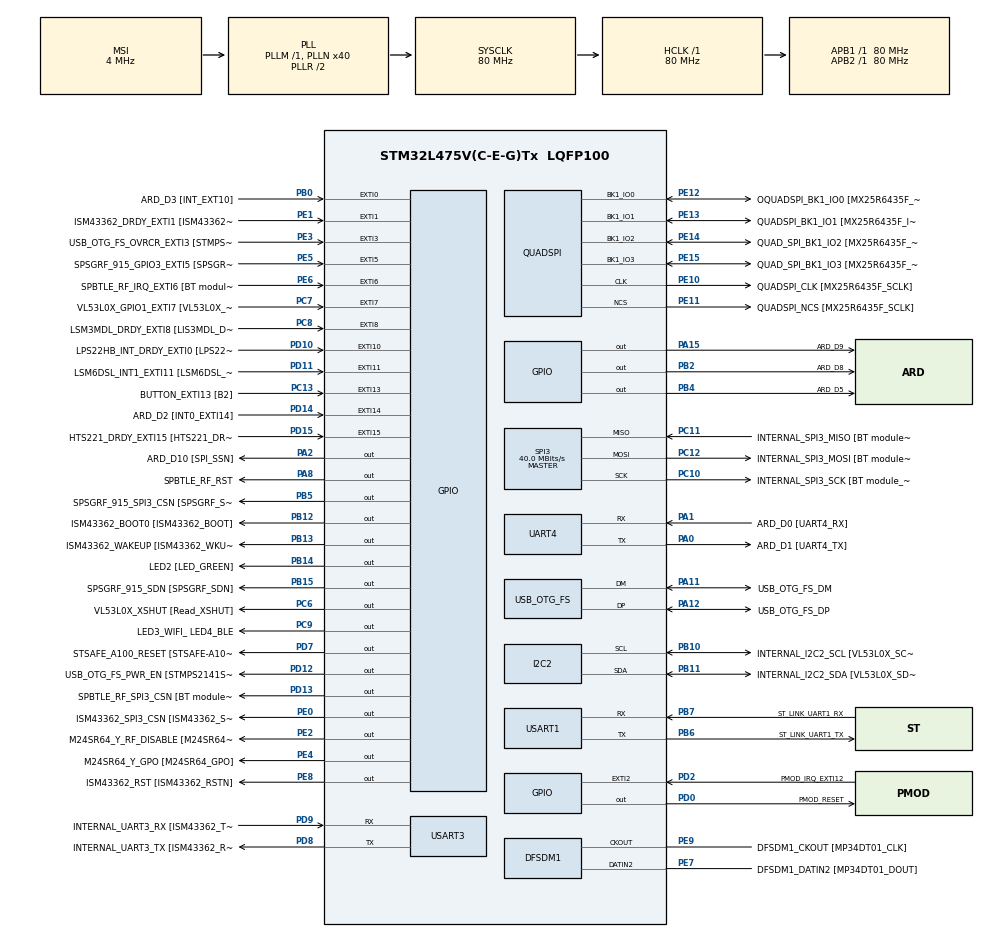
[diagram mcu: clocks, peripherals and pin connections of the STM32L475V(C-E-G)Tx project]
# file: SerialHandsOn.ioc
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Dma.Request0=UART4_RX
Dma.Request1=UART4_TX
Dma.UART4_RX.0.Direction=DMA_PERIPH_TO_MEMORY
Dma.UART4_RX.0.Instance=DMA2_Channel5
Dma.UART4_RX.0.MemDataAlignment=DMA_MDATAALIGN_BYTE
Dma.UART4_RX.0.MemInc=DMA_MINC_ENABLE
Dma.UART4_RX.0.Mode=DMA_NORMAL
Dma.UART4_RX.0.PeriphDataAlignment=DMA_PDATAALIGN_BYTE
Dma.UART4_RX.0.PeriphInc=DMA_PINC_DISABLE
Dma.UART4_RX.0.Priority=DMA_PRIORITY_LOW
Dma.UART4_TX.1.Direction=DMA_MEMORY_TO_PERIPH
Dma.UART4_TX.1.Instance=DMA2_Channel3
Dma.UART4_TX.1.MemDataAlignment=DMA_MDATAALIGN_BYTE
Dma.UART4_TX.1.MemInc=DMA_MINC_ENABLE
Dma.UART4_TX.1.Mode=DMA_NORMAL
Dma.UART4_TX.1.PeriphDataAlignment=DMA_PDATAALIGN_BYTE
Dma.UART4_TX.1.PeriphInc=DMA_PINC_DISABLE
Dma.UART4_TX.1.Priority=DMA_PRIORITY_LOW
Mcu.Family=STM32L4
Mcu.Name=STM32L475V(C-E-G)Tx
Mcu.Package=LQFP100
NVIC.DMA2_Channel3_IRQn=true\:0\:0\:false\:false\:true\:false\:true
NVIC.DMA2_Channel5_IRQn=true\:0\:0\:false\:false\:true\:false\:true
NVIC.EXTI15_10_IRQn=true\:0\:0\:false\:false\:true\:true\:true
NVIC.EXTI9_5_IRQn=true\:0\:0\:false\:false\:true\:true\:true
NVIC.PriorityGroup=NVIC_PRIORITYGROUP_4
NVIC.UART4_IRQn=true\:0\:0\:false\:false\:true\:true\:true
PA0.GPIO_Label=ARD_D1 [UART4_TX]
PA0.Mode=Asynchronous
PA0.Signal=UART4_TX
PA1.GPIO_Label=ARD_D0 [UART4_RX]
PA1.Mode=Asynchronous
PA1.Signal=UART4_RX
PA10.GPIO_Label=USB_OTG_FS_ID
PA10.Signal=USB_OTG_FS_ID
PA11.GPIO_Label=USB_OTG_FS_DM
PA11.Mode=Device_Only
PA11.Signal=USB_OTG_FS_DM
PA12.GPIO_Label=USB_OTG_FS_DP
PA12.Mode=Device_Only
PA12.Signal=USB_OTG_FS_DP
PA13\ (JTMS-SWDIO).GPIO_Label=SYS_JTMS_SWDIO
PA13\ (JTMS-SWDIO).Mode=Serial_Wire
PA13\ (JTMS-SWDIO).Signal=SYS_JTMS-SWDIO
PA14\ (JTCK-SWCLK).GPIO_Label=SYS_JTCK_SWCLK
PA14\ (JTCK-SWCLK).Mode=Serial_Wire
PA14\ (JTCK-SWCLK).Signal=SYS_JTCK-SWCLK
PA15\ (JTDI).GPIO_Label=ARD_D9
PA15\ (JTDI).Signal=GPIO_Output
PA2.GPIO_Label=ARD_D10 [SPI_SSN]
PA2.Signal=GPIO_Output
PA3.GPIO_Label=ARD_D4
PA3.Signal=S_TIM2_CH4
PA4.GPIO_Label=ARD_D7
PA4.Signal=ADCx_IN9
PA5.GPIO_Label=ARD_D13 [SPI1_SCK]
PA5.Signal=SPI1_SCK
PA6.GPIO_Label=ARD_D12 [SPI1_MISO]
PA6.Signal=SPI1_MISO
PA7.GPIO_Label=ARD_D11 [SPI1_MOSI]
PA7.Signal=SPI1_MOSI
PA8.GPIO_Label=SPBTLE_RF_RST
PA8.Signal=GPIO_Output
PA9.GPIO_Label=USB_OTG_FS_VBUS [STMPS2141STR_OUT]
PA9.Signal=USB_OTG_FS_VBUS
PB0.GPIO_Label=ARD_D3 [INT_EXT10]
PB0.Signal=GPXTI0
PB1.GPIO_Label=ARD_D6 [ADC1_IN6]
PB1.Signal=ADCx_IN16
PB10.GPIO_Label=INTERNAL_I2C2_SCL [VL53L0X_SCL]
PB10.Mode=I2C
PB10.Signal=I2C2_SCL
PB11.GPIO_Label=INTERNAL_I2C2_SDA [VL53L0X_SDA]
PB11.Mode=I2C
PB11.Signal=I2C2_SDA
PB12.GPIO_Label=ISM43362_BOOT0 [ISM43362_BOOT]
PB12.Signal=GPIO_Output
PB13.GPIO_Label=ISM43362_WAKEUP [ISM43362_WKUP]
PB13.Signal=GPIO_Output
PB14.GPIO_Label=LED2 [LED_GREEN]
PB14.Signal=GPIO_Output
PB15.GPIO_Label=SPSGRF_915_SDN [SPSGRF_SDN]
PB15.Signal=GPIO_Output
PB2.GPIO_Label=ARD_D8
PB2.Signal=GPIO_Output
PB3\ (JTDO-TRACESWO).GPIO_Label=SYS_JTD0_SWO
PB3\ (JTDO-TRACESWO).Signal=SYS_JTDO-SWO
PB4\ (NJTRST).GPIO_Label=ARD_D5
PB4\ (NJTRST).Signal=GPIO_Output
PB5.GPIO_Label=SPSGRF_915_SPI3_CSN [SPSGRF_SPI_CS]
PB5.PinState=GPIO_PIN_SET
PB5.Signal=GPIO_Output
PB6.GPIO_Label=ST_LINK_UART1_TX
PB6.Mode=Asynchronous
PB6.Signal=USART1_TX
PB7.GPIO_Label=ST_LINK_UART1_RX
PB7.Mode=Asynchronous
PB7.Signal=USART1_RX
PB8.GPIO_Label=ARD_D15 [I2C1_SCL]
PB8.Signal=I2C1_SCL
PB9.GPIO_Label=ARD_D14 [I2C1_SDA]
PB9.Signal=I2C1_SDA
PC0.GPIO_Label=ARD_A5 [ADC]
PC0.Signal=ADCx_IN1
PC1.GPIO_Label=ARD_A4 [ADC]
PC1.Signal=ADCx_IN2
PC10.GPIO_Label=INTERNAL_SPI3_SCK [BT module_SPI_SCLK] [ISM43362_SCK]
PC10.Mode=Full_Duplex_Master
PC10.Signal=SPI3_SCK
PC11.GPIO_Label=INTERNAL_SPI3_MISO [BT module_SPI_MISO] [ISM43362_MISO]
PC11.Mode=Full_Duplex_Master
PC11.Signal=SPI3_MISO
PC12.GPIO_Label=INTERNAL_SPI3_MOSI [BT module_SPI_MOSI] [ISM43362_MOSI]
PC12.Mode=Full_Duplex_Master
PC12.Signal=SPI3_MOSI
PC13.GPIO_Label=BUTTON_EXTI13 [B2]
PC13.GPIO_ModeDefaultEXTI=GPIO_MODE_IT_FALLING
PC13.Signal=GPXTI13
PC14-OSC32_IN\ (PC14).Mode=LSE-External-Oscillator
PC14-OSC32_IN\ (PC14).Signal=RCC_OSC32_IN
PC15-OSC32_OUT\ (PC15).Mode=LSE-External-Oscillator
PC15-OSC32_OUT\ (PC15).Signal=RCC_OSC32_OUT
PC2.GPIO_Label=ARD_A3 [ADC]
PC2.Signal=ADCx_IN3
PC3.GPIO_Label=ARD_A2 [ADC]
PC3.Signal=ADCx_IN4
PC4.GPIO_Label=ARD_A1 [ADC]
PC4.Signal=ADCx_IN13
PC5.GPIO_Label=ARD_A0 [ADC]
PC5.Signal=ADCx_IN14
PC6.GPIO_Label=VL53L0X_XSHUT [Read_XSHUT]
PC6.Signal=GPIO_Output
PC7.GPIO_Label=VL53L0X_GPIO1_EXTI7 [VL53L0X_GPIO1]
PC7.Signal=GPXTI7
PC8.GPIO_Label=LSM3MDL_DRDY_EXTI8 [LIS3MDL_DRDY]
PC8.Signal=GPXTI8
PC9.GPIO_Label=LED3_WIFI_ LED4_BLE
PC9.Signal=GPIO_Output
PD0.GPIO_Label=PMOD_RESET
PD0.Signal=GPIO_Output
PD1.GPIO_Label=PMOD_SPI2_SCK
PD1.Signal=SPI2_SCK
PD10.GPIO_Label=LPS22HB_INT_DRDY_EXTI0 [LPS22HB_INT_DRDY] 
PD10.Signal=GPXTI10
PD11.GPIO_Label=LSM6DSL_INT1_EXTI11 [LSM6DSL_INT1]
PD11.Signal=GPXTI11
PD12.GPIO_Label=USB_OTG_FS_PWR_EN [STMPS2141STR_EN]
PD12.Signal=GPIO_Output
PD13.GPIO_Label=SPBTLE_RF_SPI3_CSN [BT module_SPI_CS]
PD13.PinState=GPIO_PIN_SET
PD13.Signal=GPIO_Output
PD14.GPIO_Label=ARD_D2 [INT0_EXTI14]
PD14.Signal=GPXTI14
PD15.GPIO_Label=HTS221_DRDY_EXTI15 [HTS221_DRDY]
PD15.Signal=GPXTI15
PD2.GPIO_Label=PMOD_IRQ_EXTI12
PD2.Signal=GPXTI2
PD3.GPIO_Label=PMOD_UART2_CTS
PD3.Signal=USART2_CTS
PD4.GPIO_Label=PMOD_UART2_RTS
PD4.Signal=USART2_RTS
PD5.GPIO_Label=PMOD_UART2_TX
PD5.Signal=USART2_TX
PD6.GPIO_Label=PMOD_UART2_RX
PD6.Signal=USART2_RX
PD7.GPIO_Label=STSAFE_A100_RESET [STSAFE-A100_RESET]
PD7.Signal=GPIO_Output
PD8.GPIO_Label=INTERNAL_UART3_TX [ISM43362_RX]
PD8.Mode=Asynchronous
PD8.Signal=USART3_TX
PD9.GPIO_Label=INTERNAL_UART3_RX [ISM43362_TX]
PD9.Mode=Asynchronous
PD9.Signal=USART3_RX
PE0.GPIO_Label=ISM43362_SPI3_CSN [ISM43362_SSN]
PE0.PinState=GPIO_PIN_SET
PE0.Signal=GPIO_Output
PE1.GPIO_Label=ISM43362_DRDY_EXTI1 [ISM43362_DATARDY]
PE1.Signal=GPXTI1
PE10.GPIO_Label=QUADSPI_CLK [MX25R6435F_SCLK]
PE10.Mode=Single Bank
PE10.Signal=QUADSPI_CLK
PE11.GPIO_Label=QUADSPI_NCS [MX25R6435F_SCLK]
PE11.Mode=Single Bank
PE11.Signal=QUADSPI_NCS
PE12.GPIO_Label=OQUADSPI_BK1_IO0 [MX25R6435F_IO0]
PE12.Mode=Single Bank
PE12.Signal=QUADSPI_BK1_IO0
PE13.GPIO_Label=QUADSPI_BK1_IO1 [MX25R6435F_IO1]
PE13.Mode=Single Bank
PE13.Signal=QUADSPI_BK1_IO1
PE14.GPIO_Label=QUAD_SPI_BK1_IO2 [MX25R6435F_IO2]
PE14.Mode=Single Bank
PE14.Signal=QUADSPI_BK1_IO2
PE15.GPIO_Label=QUAD_SPI_BK1_IO3 [MX25R6435F_IO3]
PE15.Mode=Single Bank
PE15.Signal=QUADSPI_BK1_IO3
PE2.GPIO_Label=M24SR64_Y_RF_DISABLE [M24SR64_RFDIS]
PE2.Signal=GPIO_Output
PE3.GPIO_Label=USB_OTG_FS_OVRCR_EXTI3 [STMPS2141STR_FAULT]
PE3.Signal=GPXTI3
PE4.GPIO_Label=M24SR64_Y_GPO [M24SR64_GPO]
PE4.Signal=GPIO_Output
PE5.GPIO_Label=SPSGRF_915_GPIO3_EXTI5 [SPSGRF_GPIO_3]
PE5.Signal=GPXTI5
PE6.GPIO_Label=SPBTLE_RF_IRQ_EXTI6 [BT module_SPI_IRQ]
PE6.Signal=GPXTI6
PE7.GPIO_Label=DFSDM1_DATIN2 [MP34DT01_DOUT]
PE7.Signal=S_DATAIN2DFSDM1
PE8.GPIO_Label=ISM43362_RST [ISM43362_RSTN]
PE8.Signal=GPIO_Output
PE9.GPIO_Label=DFSDM1_CKOUT [MP34DT01_CLK]
PE9.Signal=S_CKOUTDFSDM1
ProjectManager.HeapSize=0x200
ProjectManager.StackSize=0x400
ProjectManager.TargetToolchain=STM32CubeIDE
QUADSPI.ClockPrescaler=2
QUADSPI.FifoThreshold=4
QUADSPI.FlashSize=23
QUADSPI.SampleShifting=QSPI_SAMPLE_SHIFTING_HALFCYCLE
RCC.ADCFreq_Value=48000000
RCC.AHBFreq_Value=80000000
RCC.APB1Freq_Value=80000000
RCC.APB1TimFreq_Value=80000000
RCC.APB2Freq_Value=80000000
RCC.APB2TimFreq_Value=80000000
RCC.CortexFreq_Value=80000000
RCC.HCLKFreq_Value=80000000
RCC.HSE_VALUE=8000000
RCC.HSI_VALUE=16000000
RCC.MSI_VALUE=4000000
RCC.PLLN=40
RCC.PLLSAI1N=24
RCC.SYSCLKFreq_VALUE=80000000
RCC.SYSCLKSource=RCC_SYSCLKSOURCE_PLLCLK
RCC.USBFreq_Value=48000000
RCC.VCOOutputFreq_Value=160000000
SH.ADCx_IN1.0=ADC1_IN1
SH.ADCx_IN13.0=ADC1_IN13
SH.ADCx_IN14.0=ADC1_IN14
SH.ADCx_IN16.0=ADC1_IN16
SH.ADCx_IN2.0=ADC1_IN2
SH.ADCx_IN3.0=ADC1_IN3
SH.ADCx_IN4.0=ADC1_IN4
SH.ADCx_IN9.0=ADC1_IN9
SH.S_CKOUTDFSDM1.0=DFSDM1_CKOUT,CKOUT
SH.S_CKOUTDFSDM1.1=DFSDM1_CKOUT,PDM_SPI_Input_from_ch12_and_Internal_Clock
SH.S_DATAIN2DFSDM1.0=DFSDM1_DATIN2,PDM_SPI_Input_from_ch12_and_Internal_Clock
SH.S_TIM2_CH4.0=TIM2_CH4
SPI3.CalculateBaudRate=40.0 MBits/s
SPI3.Direction=SPI_DIRECTION_2LINES
SPI3.Mode=SPI_MODE_MASTER
SPI3.VirtualType=VM_MASTER
USART1.VirtualMode-Asynchronous=VM_ASYNC
USART3.VirtualMode-Asynchronous=VM_ASYNC
USB_OTG_FS.VirtualMode=Device_Only
board=B-L475E-IOT01A1

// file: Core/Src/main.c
/* USER CODE BEGIN Header */
/**
 ******************************************************************************
 * @file           : main.c
 * @brief          : Main program body
 ******************************************************************************
 * @attention
 *
 * <h2><center>&copy; Copyright (c) 2021 STMicroelectronics.
 * All rights reserved.</center></h2>
 *
 * This software component is licensed by ST under BSD 3-Clause license,
 * the "License"; You may not use this file except in compliance with the
 * License. You may obtain a copy of the License at:
 *                        opensource.org/licenses/BSD-3-Clause
 *
 ******************************************************************************
 */
/* USER CODE END Header */
#include "main.h"

/* USER CODE BEGIN Includes */
#include <stdio.h>
#include <string.h>
/* USER CODE END Includes */

DFSDM_Channel_HandleTypeDef hdfsdm1_channel1;

I2C_HandleTypeDef hi2c2;

QSPI_HandleTypeDef hqspi;

SPI_HandleTypeDef hspi3;

UART_HandleTypeDef huart4;
UART_HandleTypeDef huart1;
UART_HandleTypeDef huart3;
DMA_HandleTypeDef hdma_uart4_rx;
DMA_HandleTypeDef hdma_uart4_tx;

PCD_HandleTypeDef hpcd_USB_OTG_FS;

/* USER CODE BEGIN PV */
static char tx_buff[] = "abcdefghijklmnopqrstuvwxyz";
static char rx_buff[] = "abcdefghijklmnopqrstuvwxyz";
static uint8_t do_interrupt_done = 0; // interrupt flag
/* USER CODE END PV */

void SystemClock_Config(void);
static void MX_GPIO_Init(void);
static void MX_DFSDM1_Init(void);
static void MX_I2C2_Init(void);
static void MX_QUADSPI_Init(void);
static void MX_SPI3_Init(void);
static void MX_USART1_UART_Init(void);
static void MX_USART3_UART_Init(void);
static void MX_USB_OTG_FS_PCD_Init(void);
static void MX_DMA_Init(void);
static void MX_UART4_Init(void);
/* USER CODE BEGIN PFP */
static void do_polling();
static void do_interrupt();
static void do_dma();
/* USER CODE END PFP */

int main(void)
{

  /* MCU Configuration--------------------------------------------------------*/

  /* Reset of all peripherals, Initializes the Flash interface and the Systick. */
  HAL_Init();

  /* Configure the system clock */
  SystemClock_Config();

  /* Initialize all configured peripherals */
  MX_GPIO_Init();
  MX_DFSDM1_Init();
  MX_I2C2_Init();
  MX_QUADSPI_Init();
  MX_SPI3_Init();
  MX_USART1_UART_Init();
  MX_USART3_UART_Init();
  MX_USB_OTG_FS_PCD_Init();
  MX_DMA_Init();
  MX_UART4_Init();

  /* Infinite loop */
  /* USER CODE BEGIN WHILE */
    while (1) {

        // command prompt message
        char *prompt = "Options: 1=polling, 2=interrupt, 3=DMA\n\rcmd> ";
        HAL_UART_Transmit(&huart1, (uint8_t*) prompt, strlen(prompt), 1000);

        // wait for a single number entry
        char ch;
        HAL_UART_Receive(&huart1, (uint8_t*) &ch, 1, HAL_MAX_DELAY);

        char *msg = "What?";

        switch (ch) {
            case '1':
                msg = "\r\nPolling\r\n";
                do_polling();
                break;
            case '2':
                msg = "\r\nInterrupt\r\n";
                do_interrupt();
                break;
            case '3':
                msg = "\r\nDMA\r\n";
                do_dma();
                break;
            default:
                break;
        }

        // print prompt response
        HAL_UART_Transmit(&huart1, (uint8_t*) msg, sizeof(msg), 1000);

    /* USER CODE END WHILE */

    }
}

void SystemClock_Config(void)
{
  RCC_OscInitTypeDef RCC_OscInitStruct = {0};
  RCC_ClkInitTypeDef RCC_ClkInitStruct = {0};
  RCC_PeriphCLKInitTypeDef PeriphClkInit = {0};

  /** Configure LSE Drive Capability
  */
  HAL_PWR_EnableBkUpAccess();
  __HAL_RCC_LSEDRIVE_CONFIG(RCC_LSEDRIVE_LOW);
  /** Initializes the RCC Oscillators according to the specified parameters
  * in the RCC_OscInitTypeDef structure.
  */
  RCC_OscInitStruct.OscillatorType = RCC_OSCILLATORTYPE_LSE|RCC_OSCILLATORTYPE_MSI;
  RCC_OscInitStruct.LSEState = RCC_LSE_ON;
  RCC_OscInitStruct.MSIState = RCC_MSI_ON;
  RCC_OscInitStruct.MSICalibrationValue = 0;
  RCC_OscInitStruct.MSIClockRange = RCC_MSIRANGE_6;
  RCC_OscInitStruct.PLL.PLLState = RCC_PLL_ON;
  RCC_OscInitStruct.PLL.PLLSource = RCC_PLLSOURCE_MSI;
  RCC_OscInitStruct.PLL.PLLM = 1;
  RCC_OscInitStruct.PLL.PLLN = 40;
  RCC_OscInitStruct.PLL.PLLP = RCC_PLLP_DIV7;
  RCC_OscInitStruct.PLL.PLLQ = RCC_PLLQ_DIV2;
  RCC_OscInitStruct.PLL.PLLR = RCC_PLLR_DIV2;
  if (HAL_RCC_OscConfig(&RCC_OscInitStruct) != HAL_OK)
  {
    Error_Handler();
  }
  /** Initializes the CPU, AHB and APB buses clocks
  */
  RCC_ClkInitStruct.ClockType = RCC_CLOCKTYPE_HCLK|RCC_CLOCKTYPE_SYSCLK
                              |RCC_CLOCKTYPE_PCLK1|RCC_CLOCKTYPE_PCLK2;
  RCC_ClkInitStruct.SYSCLKSource = RCC_SYSCLKSOURCE_PLLCLK;
  RCC_ClkInitStruct.AHBCLKDivider = RCC_SYSCLK_DIV1;
  RCC_ClkInitStruct.APB1CLKDivider = RCC_HCLK_DIV1;
  RCC_ClkInitStruct.APB2CLKDivider = RCC_HCLK_DIV1;

  if (HAL_RCC_ClockConfig(&RCC_ClkInitStruct, FLASH_LATENCY_4) != HAL_OK)
  {
    Error_Handler();
  }
  PeriphClkInit.PeriphClockSelection = RCC_PERIPHCLK_USART1|RCC_PERIPHCLK_USART3
                              |RCC_PERIPHCLK_UART4|RCC_PERIPHCLK_I2C2
                              |RCC_PERIPHCLK_DFSDM1|RCC_PERIPHCLK_USB;
  PeriphClkInit.Usart1ClockSelection = RCC_USART1CLKSOURCE_PCLK2;
  PeriphClkInit.Usart3ClockSelection = RCC_USART3CLKSOURCE_PCLK1;
  PeriphClkInit.Uart4ClockSelection = RCC_UART4CLKSOURCE_PCLK1;
  PeriphClkInit.I2c2ClockSelection = RCC_I2C2CLKSOURCE_PCLK1;
  PeriphClkInit.Dfsdm1ClockSelection = RCC_DFSDM1CLKSOURCE_PCLK;
  PeriphClkInit.UsbClockSelection = RCC_USBCLKSOURCE_PLLSAI1;
  PeriphClkInit.PLLSAI1.PLLSAI1Source = RCC_PLLSOURCE_MSI;
  PeriphClkInit.PLLSAI1.PLLSAI1M = 1;
  PeriphClkInit.PLLSAI1.PLLSAI1N = 24;
  PeriphClkInit.PLLSAI1.PLLSAI1P = RCC_PLLP_DIV7;
  PeriphClkInit.PLLSAI1.PLLSAI1Q = RCC_PLLQ_DIV2;
  PeriphClkInit.PLLSAI1.PLLSAI1R = RCC_PLLR_DIV2;
  PeriphClkInit.PLLSAI1.PLLSAI1ClockOut = RCC_PLLSAI1_48M2CLK;
  if (HAL_RCCEx_PeriphCLKConfig(&PeriphClkInit) != HAL_OK)
  {
    Error_Handler();
  }
  /** Configure the main internal regulator output voltage
  */
  if (HAL_PWREx_ControlVoltageScaling(PWR_REGULATOR_VOLTAGE_SCALE1) != HAL_OK)
  {
    Error_Handler();
  }
  /** Enable MSI Auto calibration
  */
  HAL_RCCEx_EnableMSIPLLMode();
}

static void MX_DFSDM1_Init(void)
{

  hdfsdm1_channel1.Instance = DFSDM1_Channel1;
  hdfsdm1_channel1.Init.OutputClock.Activation = ENABLE;
  hdfsdm1_channel1.Init.OutputClock.Selection = DFSDM_CHANNEL_OUTPUT_CLOCK_SYSTEM;
  hdfsdm1_channel1.Init.OutputClock.Divider = 2;
  hdfsdm1_channel1.Init.Input.Multiplexer = DFSDM_CHANNEL_EXTERNAL_INPUTS;
  hdfsdm1_channel1.Init.Input.DataPacking = DFSDM_CHANNEL_STANDARD_MODE;
  hdfsdm1_channel1.Init.Input.Pins = DFSDM_CHANNEL_FOLLOWING_CHANNEL_PINS;
  hdfsdm1_channel1.Init.SerialInterface.Type = DFSDM_CHANNEL_SPI_RISING;
  hdfsdm1_channel1.Init.SerialInterface.SpiClock = DFSDM_CHANNEL_SPI_CLOCK_INTERNAL;
  hdfsdm1_channel1.Init.Awd.FilterOrder = DFSDM_CHANNEL_FASTSINC_ORDER;
  hdfsdm1_channel1.Init.Awd.Oversampling = 1;
  hdfsdm1_channel1.Init.Offset = 0;
  hdfsdm1_channel1.Init.RightBitShift = 0x00;
  if (HAL_DFSDM_ChannelInit(&hdfsdm1_channel1) != HAL_OK)
  {
    Error_Handler();
  }

}

static void MX_I2C2_Init(void)
{

  hi2c2.Instance = I2C2;
  hi2c2.Init.Timing = 0x00000E14;
  hi2c2.Init.OwnAddress1 = 0;
  hi2c2.Init.AddressingMode = I2C_ADDRESSINGMODE_7BIT;
  hi2c2.Init.DualAddressMode = I2C_DUALADDRESS_DISABLE;
  hi2c2.Init.OwnAddress2 = 0;
  hi2c2.Init.OwnAddress2Masks = I2C_OA2_NOMASK;
  hi2c2.Init.GeneralCallMode = I2C_GENERALCALL_DISABLE;
  hi2c2.Init.NoStretchMode = I2C_NOSTRETCH_DISABLE;
  if (HAL_I2C_Init(&hi2c2) != HAL_OK)
  {
    Error_Handler();
  }
  /** Configure Analogue filter
  */
  if (HAL_I2CEx_ConfigAnalogFilter(&hi2c2, I2C_ANALOGFILTER_ENABLE) != HAL_OK)
  {
    Error_Handler();
  }
  /** Configure Digital filter
  */
  if (HAL_I2CEx_ConfigDigitalFilter(&hi2c2, 0) != HAL_OK)
  {
    Error_Handler();
  }

}

static void MX_QUADSPI_Init(void)
{

  /* QUADSPI parameter configuration*/
  hqspi.Instance = QUADSPI;
  hqspi.Init.ClockPrescaler = 2;
  hqspi.Init.FifoThreshold = 4;
  hqspi.Init.SampleShifting = QSPI_SAMPLE_SHIFTING_HALFCYCLE;
  hqspi.Init.FlashSize = 23;
  hqspi.Init.ChipSelectHighTime = QSPI_CS_HIGH_TIME_1_CYCLE;
  hqspi.Init.ClockMode = QSPI_CLOCK_MODE_0;
  if (HAL_QSPI_Init(&hqspi) != HAL_OK)
  {
    Error_Handler();
  }

}

static void MX_SPI3_Init(void)
{

  /* SPI3 parameter configuration*/
  hspi3.Instance = SPI3;
  hspi3.Init.Mode = SPI_MODE_MASTER;
  hspi3.Init.Direction = SPI_DIRECTION_2LINES;
  hspi3.Init.DataSize = SPI_DATASIZE_4BIT;
  hspi3.Init.CLKPolarity = SPI_POLARITY_LOW;
  hspi3.Init.CLKPhase = SPI_PHASE_1EDGE;
  hspi3.Init.NSS = SPI_NSS_SOFT;
  hspi3.Init.BaudRatePrescaler = SPI_BAUDRATEPRESCALER_2;
  hspi3.Init.FirstBit = SPI_FIRSTBIT_MSB;
  hspi3.Init.TIMode = SPI_TIMODE_DISABLE;
  hspi3.Init.CRCCalculation = SPI_CRCCALCULATION_DISABLE;
  hspi3.Init.CRCPolynomial = 7;
  hspi3.Init.CRCLength = SPI_CRC_LENGTH_DATASIZE;
  hspi3.Init.NSSPMode = SPI_NSS_PULSE_ENABLE;
  if (HAL_SPI_Init(&hspi3) != HAL_OK)
  {
    Error_Handler();
  }

}

static void MX_UART4_Init(void)
{

  huart4.Instance = UART4;
  huart4.Init.BaudRate = 115200;
  huart4.Init.WordLength = UART_WORDLENGTH_8B;
  huart4.Init.StopBits = UART_STOPBITS_1;
  huart4.Init.Parity = UART_PARITY_NONE;
  huart4.Init.Mode = UART_MODE_TX_RX;
  huart4.Init.HwFlowCtl = UART_HWCONTROL_NONE;
  huart4.Init.OverSampling = UART_OVERSAMPLING_16;
  huart4.Init.OneBitSampling = UART_ONE_BIT_SAMPLE_DISABLE;
  huart4.AdvancedInit.AdvFeatureInit = UART_ADVFEATURE_NO_INIT;
  if (HAL_UART_Init(&huart4) != HAL_OK)
  {
    Error_Handler();
  }

}

static void MX_USART1_UART_Init(void)
{

  huart1.Instance = USART1;
  huart1.Init.BaudRate = 115200;
  huart1.Init.WordLength = UART_WORDLENGTH_8B;
  huart1.Init.StopBits = UART_STOPBITS_1;
  huart1.Init.Parity = UART_PARITY_NONE;
  huart1.Init.Mode = UART_MODE_TX_RX;
  huart1.Init.HwFlowCtl = UART_HWCONTROL_NONE;
  huart1.Init.OverSampling = UART_OVERSAMPLING_16;
  huart1.Init.OneBitSampling = UART_ONE_BIT_SAMPLE_DISABLE;
  huart1.AdvancedInit.AdvFeatureInit = UART_ADVFEATURE_NO_INIT;
  if (HAL_UART_Init(&huart1) != HAL_OK)
  {
    Error_Handler();
  }

}

static void MX_USART3_UART_Init(void)
{

  huart3.Instance = USART3;
  huart3.Init.BaudRate = 115200;
  huart3.Init.WordLength = UART_WORDLENGTH_8B;
  huart3.Init.StopBits = UART_STOPBITS_1;
  huart3.Init.Parity = UART_PARITY_NONE;
  huart3.Init.Mode = UART_MODE_TX_RX;
  huart3.Init.HwFlowCtl = UART_HWCONTROL_NONE;
  huart3.Init.OverSampling = UART_OVERSAMPLING_16;
  huart3.Init.OneBitSampling = UART_ONE_BIT_SAMPLE_DISABLE;
  huart3.AdvancedInit.AdvFeatureInit = UART_ADVFEATURE_NO_INIT;
  if (HAL_UART_Init(&huart3) != HAL_OK)
  {
    Error_Handler();
  }

}

static void MX_USB_OTG_FS_PCD_Init(void)
{

  hpcd_USB_OTG_FS.Instance = USB_OTG_FS;
  hpcd_USB_OTG_FS.Init.dev_endpoints = 6;
  hpcd_USB_OTG_FS.Init.speed = PCD_SPEED_FULL;
  hpcd_USB_OTG_FS.Init.phy_itface = PCD_PHY_EMBEDDED;
  hpcd_USB_OTG_FS.Init.Sof_enable = DISABLE;
  hpcd_USB_OTG_FS.Init.low_power_enable = DISABLE;
  hpcd_USB_OTG_FS.Init.lpm_enable = DISABLE;
  hpcd_USB_OTG_FS.Init.battery_charging_enable = DISABLE;
  hpcd_USB_OTG_FS.Init.use_dedicated_ep1 = DISABLE;
  hpcd_USB_OTG_FS.Init.vbus_sensing_enable = DISABLE;
  if (HAL_PCD_Init(&hpcd_USB_OTG_FS) != HAL_OK)
  {
    Error_Handler();
  }

}

static void MX_DMA_Init(void)
{

  /* DMA controller clock enable */
  __HAL_RCC_DMA2_CLK_ENABLE();

  /* DMA interrupt init */
  /* DMA2_Channel3_IRQn interrupt configuration */
  HAL_NVIC_SetPriority(DMA2_Channel3_IRQn, 0, 0);
  HAL_NVIC_EnableIRQ(DMA2_Channel3_IRQn);
  /* DMA2_Channel5_IRQn interrupt configuration */
  HAL_NVIC_SetPriority(DMA2_Channel5_IRQn, 0, 0);
  HAL_NVIC_EnableIRQ(DMA2_Channel5_IRQn);

}

static void MX_GPIO_Init(void)
{
  GPIO_InitTypeDef GPIO_InitStruct = {0};

  /* GPIO Ports Clock Enable */
  __HAL_RCC_GPIOE_CLK_ENABLE();
  __HAL_RCC_GPIOC_CLK_ENABLE();
  __HAL_RCC_GPIOA_CLK_ENABLE();
  __HAL_RCC_GPIOB_CLK_ENABLE();
  __HAL_RCC_GPIOD_CLK_ENABLE();

  /*Configure GPIO pin Output Level */
  HAL_GPIO_WritePin(GPIOE, M24SR64_Y_RF_DISABLE_Pin|M24SR64_Y_GPO_Pin|ISM43362_RST_Pin, GPIO_PIN_RESET);

  /*Configure GPIO pin Output Level */
  HAL_GPIO_WritePin(GPIOA, ARD_D10_Pin|SPBTLE_RF_RST_Pin|ARD_D9_Pin, GPIO_PIN_RESET);

  /*Configure GPIO pin Output Level */
  HAL_GPIO_WritePin(GPIOB, ARD_D8_Pin|ISM43362_BOOT0_Pin|ISM43362_WAKEUP_Pin|LED2_Pin
                          |SPSGRF_915_SDN_Pin|ARD_D5_Pin, GPIO_PIN_RESET);

  /*Configure GPIO pin Output Level */
  HAL_GPIO_WritePin(GPIOD, USB_OTG_FS_PWR_EN_Pin|PMOD_RESET_Pin|STSAFE_A100_RESET_Pin, GPIO_PIN_RESET);

  /*Configure GPIO pin Output Level */
  HAL_GPIO_WritePin(SPBTLE_RF_SPI3_CSN_GPIO_Port, SPBTLE_RF_SPI3_CSN_Pin, GPIO_PIN_SET);

  /*Configure GPIO pin Output Level */
  HAL_GPIO_WritePin(GPIOC, VL53L0X_XSHUT_Pin|LED3_WIFI__LED4_BLE_Pin, GPIO_PIN_RESET);

  /*Configure GPIO pin Output Level */
  HAL_GPIO_WritePin(SPSGRF_915_SPI3_CSN_GPIO_Port, SPSGRF_915_SPI3_CSN_Pin, GPIO_PIN_SET);

  /*Configure GPIO pin Output Level */
  HAL_GPIO_WritePin(ISM43362_SPI3_CSN_GPIO_Port, ISM43362_SPI3_CSN_Pin, GPIO_PIN_SET);

  /*Configure GPIO pins : M24SR64_Y_RF_DISABLE_Pin M24SR64_Y_GPO_Pin ISM43362_RST_Pin ISM43362_SPI3_CSN_Pin */
  GPIO_InitStruct.Pin = M24SR64_Y_RF_DISABLE_Pin|M24SR64_Y_GPO_Pin|ISM43362_RST_Pin|ISM43362_SPI3_CSN_Pin;
  GPIO_InitStruct.Mode = GPIO_MODE_OUTPUT_PP;
  GPIO_InitStruct.Pull = GPIO_NOPULL;
  GPIO_InitStruct.Speed = GPIO_SPEED_FREQ_LOW;
  HAL_GPIO_Init(GPIOE, &GPIO_InitStruct);

  /*Configure GPIO pins : USB_OTG_FS_OVRCR_EXTI3_Pin SPSGRF_915_GPIO3_EXTI5_Pin SPBTLE_RF_IRQ_EXTI6_Pin ISM43362_DRDY_EXTI1_Pin */
  GPIO_InitStruct.Pin = USB_OTG_FS_OVRCR_EXTI3_Pin|SPSGRF_915_GPIO3_EXTI5_Pin|SPBTLE_RF_IRQ_EXTI6_Pin|ISM43362_DRDY_EXTI1_Pin;
  GPIO_InitStruct.Mode = GPIO_MODE_IT_RISING;
  GPIO_InitStruct.Pull = GPIO_NOPULL;
  HAL_GPIO_Init(GPIOE, &GPIO_InitStruct);

  /*Configure GPIO pin : BUTTON_EXTI13_Pin */
  GPIO_InitStruct.Pin = BUTTON_EXTI13_Pin;
  GPIO_InitStruct.Mode = GPIO_MODE_IT_FALLING;
  GPIO_InitStruct.Pull = GPIO_NOPULL;
  HAL_GPIO_Init(BUTTON_EXTI13_GPIO_Port, &GPIO_InitStruct);

  /*Configure GPIO pins : ARD_A5_Pin ARD_A4_Pin ARD_A3_Pin ARD_A2_Pin
                           ARD_A1_Pin ARD_A0_Pin */
  GPIO_InitStruct.Pin = ARD_A5_Pin|ARD_A4_Pin|ARD_A3_Pin|ARD_A2_Pin
                          |ARD_A1_Pin|ARD_A0_Pin;
  GPIO_InitStruct.Mode = GPIO_MODE_ANALOG_ADC_CONTROL;
  GPIO_InitStruct.Pull = GPIO_NOPULL;
  HAL_GPIO_Init(GPIOC, &GPIO_InitStruct);

  /*Configure GPIO pins : ARD_D10_Pin SPBTLE_RF_RST_Pin ARD_D9_Pin */
  GPIO_InitStruct.Pin = ARD_D10_Pin|SPBTLE_RF_RST_Pin|ARD_D9_Pin;
  GPIO_InitStruct.Mode = GPIO_MODE_OUTPUT_PP;
  GPIO_InitStruct.Pull = GPIO_NOPULL;
  GPIO_InitStruct.Speed = GPIO_SPEED_FREQ_LOW;
  HAL_GPIO_Init(GPIOA, &GPIO_InitStruct);

  /*Configure GPIO pin : ARD_D4_Pin */
  GPIO_InitStruct.Pin = ARD_D4_Pin;
  GPIO_InitStruct.Mode = GPIO_MODE_AF_PP;
  GPIO_InitStruct.Pull = GPIO_NOPULL;
  GPIO_InitStruct.Speed = GPIO_SPEED_FREQ_LOW;
  GPIO_InitStruct.Alternate = GPIO_AF1_TIM2;
  HAL_GPIO_Init(ARD_D4_GPIO_Port, &GPIO_InitStruct);

  /*Configure GPIO pin : ARD_D7_Pin */
  GPIO_InitStruct.Pin = ARD_D7_Pin;
  GPIO_InitStruct.Mode = GPIO_MODE_ANALOG_ADC_CONTROL;
  GPIO_InitStruct.Pull = GPIO_NOPULL;
  HAL_GPIO_Init(ARD_D7_GPIO_Port, &GPIO_InitStruct);

  /*Configure GPIO pins : ARD_D13_Pin ARD_D12_Pin ARD_D11_Pin */
  GPIO_InitStruct.Pin = ARD_D13_Pin|ARD_D12_Pin|ARD_D11_Pin;
  GPIO_InitStruct.Mode = GPIO_MODE_AF_PP;
  GPIO_InitStruct.Pull = GPIO_NOPULL;
  GPIO_InitStruct.Speed = GPIO_SPEED_FREQ_VERY_HIGH;
  GPIO_InitStruct.Alternate = GPIO_AF5_SPI1;
  HAL_GPIO_Init(GPIOA, &GPIO_InitStruct);

  /*Configure GPIO pin : ARD_D3_Pin */
  GPIO_InitStruct.Pin = ARD_D3_Pin;
  GPIO_InitStruct.Mode = GPIO_MODE_IT_RISING;
  GPIO_InitStruct.Pull = GPIO_NOPULL;
  HAL_GPIO_Init(ARD_D3_GPIO_Port, &GPIO_InitStruct);

  /*Configure GPIO pin : ARD_D6_Pin */
  GPIO_InitStruct.Pin = ARD_D6_Pin;
  GPIO_InitStruct.Mode = GPIO_MODE_ANALOG_ADC_CONTROL;
  GPIO_InitStruct.Pull = GPIO_NOPULL;
  HAL_GPIO_Init(ARD_D6_GPIO_Port, &GPIO_InitStruct);

  /*Configure GPIO pins : ARD_D8_Pin ISM43362_BOOT0_Pin ISM43362_WAKEUP_Pin LED2_Pin
                           SPSGRF_915_SDN_Pin ARD_D5_Pin SPSGRF_915_SPI3_CSN_Pin */
  GPIO_InitStruct.Pin = ARD_D8_Pin|ISM43362_BOOT0_Pin|ISM43362_WAKEUP_Pin|LED2_Pin
                          |SPSGRF_915_SDN_Pin|ARD_D5_Pin|SPSGRF_915_SPI3_CSN_Pin;
  GPIO_InitStruct.Mode = GPIO_MODE_OUTPUT_PP;
  GPIO_InitStruct.Pull = GPIO_NOPULL;
  GPIO_InitStruct.Speed = GPIO_SPEED_FREQ_LOW;
  HAL_GPIO_Init(GPIOB, &GPIO_InitStruct);

  /*Configure GPIO pins : LPS22HB_INT_DRDY_EXTI0_Pin LSM6DSL_INT1_EXTI11_Pin ARD_D2_Pin HTS221_DRDY_EXTI15_Pin
                           PMOD_IRQ_EXTI12_Pin */
  GPIO_InitStruct.Pin = LPS22HB_INT_DRDY_EXTI0_Pin|LSM6DSL_INT1_EXTI11_Pin|ARD_D2_Pin|HTS221_DRDY_EXTI15_Pin
                          |PMOD_IRQ_EXTI12_Pin;
  GPIO_InitStruct.Mode = GPIO_MODE_IT_RISING;
  GPIO_InitStruct.Pull = GPIO_NOPULL;
  HAL_GPIO_Init(GPIOD, &GPIO_InitStruct);

  /*Configure GPIO pins : USB_OTG_FS_PWR_EN_Pin SPBTLE_RF_SPI3_CSN_Pin PMOD_RESET_Pin STSAFE_A100_RESET_Pin */
  GPIO_InitStruct.Pin = USB_OTG_FS_PWR_EN_Pin|SPBTLE_RF_SPI3_CSN_Pin|PMOD_RESET_Pin|STSAFE_A100_RESET_Pin;
  GPIO_InitStruct.Mode = GPIO_MODE_OUTPUT_PP;
  GPIO_InitStruct.Pull = GPIO_NOPULL;
  GPIO_InitStruct.Speed = GPIO_SPEED_FREQ_LOW;
  HAL_GPIO_Init(GPIOD, &GPIO_InitStruct);

  /*Configure GPIO pins : VL53L0X_XSHUT_Pin LED3_WIFI__LED4_BLE_Pin */
  GPIO_InitStruct.Pin = VL53L0X_XSHUT_Pin|LED3_WIFI__LED4_BLE_Pin;
  GPIO_InitStruct.Mode = GPIO_MODE_OUTPUT_PP;
  GPIO_InitStruct.Pull = GPIO_NOPULL;
  GPIO_InitStruct.Speed = GPIO_SPEED_FREQ_LOW;
  HAL_GPIO_Init(GPIOC, &GPIO_InitStruct);

  /*Configure GPIO pins : VL53L0X_GPIO1_EXTI7_Pin LSM3MDL_DRDY_EXTI8_Pin */
  GPIO_InitStruct.Pin = VL53L0X_GPIO1_EXTI7_Pin|LSM3MDL_DRDY_EXTI8_Pin;
  GPIO_InitStruct.Mode = GPIO_MODE_IT_RISING;
  GPIO_InitStruct.Pull = GPIO_NOPULL;
  HAL_GPIO_Init(GPIOC, &GPIO_InitStruct);

  /*Configure GPIO pin : PMOD_SPI2_SCK_Pin */
  GPIO_InitStruct.Pin = PMOD_SPI2_SCK_Pin;
  GPIO_InitStruct.Mode = GPIO_MODE_AF_PP;
  GPIO_InitStruct.Pull = GPIO_NOPULL;
  GPIO_InitStruct.Speed = GPIO_SPEED_FREQ_VERY_HIGH;
  GPIO_InitStruct.Alternate = GPIO_AF5_SPI2;
  HAL_GPIO_Init(PMOD_SPI2_SCK_GPIO_Port, &GPIO_InitStruct);

  /*Configure GPIO pins : PMOD_UART2_CTS_Pin PMOD_UART2_RTS_Pin PMOD_UART2_TX_Pin PMOD_UART2_RX_Pin */
  GPIO_InitStruct.Pin = PMOD_UART2_CTS_Pin|PMOD_UART2_RTS_Pin|PMOD_UART2_TX_Pin|PMOD_UART2_RX_Pin;
  GPIO_InitStruct.Mode = GPIO_MODE_AF_PP;
  GPIO_InitStruct.Pull = GPIO_NOPULL;
  GPIO_InitStruct.Speed = GPIO_SPEED_FREQ_VERY_HIGH;
  GPIO_InitStruct.Alternate = GPIO_AF7_USART2;
  HAL_GPIO_Init(GPIOD, &GPIO_InitStruct);

  /*Configure GPIO pins : ARD_D15_Pin ARD_D14_Pin */
  GPIO_InitStruct.Pin = ARD_D15_Pin|ARD_D14_Pin;
  GPIO_InitStruct.Mode = GPIO_MODE_AF_OD;
  GPIO_InitStruct.Pull = GPIO_PULLUP;
  GPIO_InitStruct.Speed = GPIO_SPEED_FREQ_VERY_HIGH;
  GPIO_InitStruct.Alternate = GPIO_AF4_I2C1;
  HAL_GPIO_Init(GPIOB, &GPIO_InitStruct);

  /* EXTI interrupt init*/
  HAL_NVIC_SetPriority(EXTI9_5_IRQn, 0, 0);
  HAL_NVIC_EnableIRQ(EXTI9_5_IRQn);

  HAL_NVIC_SetPriority(EXTI15_10_IRQn, 0, 0);
  HAL_NVIC_EnableIRQ(EXTI15_10_IRQn);

}

/* USER CODE BEGIN 4 */
void do_polling() {

    char *ptx_buff = tx_buff;
    char *prx_buff = rx_buff;

    // set rx buf to known pattern
    for (uint8_t i = 0; i < sizeof(rx_buff); i++) {
        rx_buff[i] = '?';
    }

    do {
        // let UART4 know we are active
        char ch = '.';
        HAL_UART_Transmit(&huart1, (uint8_t*) &ch, 1, 100);

        // send char
        HAL_UART_Transmit(&huart4, (uint8_t*) ptx_buff, 1, 100);

        HAL_UART_Receive(&huart4, (uint8_t*) prx_buff, 1, 100);

        if (*ptx_buff != *prx_buff) {
            char buff[100];
            snprintf(buff, sizeof(buff), "\r\nError: 0x%02x != 0x%02x\r\n",
                    *ptx_buff, *prx_buff);
            HAL_UART_Transmit(&huart1, (uint8_t*) buff, sizeof(buff), 100);
            return;
        }

        // point to next location
        ptx_buff++;
        prx_buff++;

    } while (ptx_buff < (tx_buff + sizeof(tx_buff)));
}

void do_interrupt() {

    // set rx buff to known pattern
    for (int i = 0; i < sizeof(rx_buff); i++) {
        rx_buff[i] = '?';
    }

    // let UART1 know we are active
    char ch = '.';
    HAL_UART_Transmit(&huart1, (uint8_t*) &ch, 1, 100);

    // clear flag to know when interrupts done
    do_interrupt_done = 0;

    // receive the buffer using interrupts
    HAL_UART_Receive_IT(&huart4, (uint8_t*) rx_buff, sizeof(rx_buff));

    // send the complete buffer using interrupts
    HAL_UART_Transmit_IT(&huart4, (uint8_t*) tx_buff, sizeof(tx_buff));

    while (!do_interrupt_done) {
        char ch = '~';
        HAL_UART_Transmit(&huart1, (uint8_t*) &ch, 1, 100);
        HAL_Delay(100);
    }
}

void do_dma() {

    // set rx buff to known pattern
    for (int i = 0; i < sizeof(rx_buff); i++) {
        rx_buff[i] = '?';
    }

    // let UART1 know we are active
    char ch = '.';
    HAL_UART_Transmit(&huart1, (uint8_t*) &ch, 1, 100);

    // clear flag to know when interrupts done
    do_interrupt_done = 0;

    // receive the buffer using interrupts
    HAL_UART_Receive_DMA(&huart4, (uint8_t*) rx_buff, sizeof(rx_buff));

    // send the complete buffer using interrupts
    HAL_UART_Transmit_DMA(&huart4, (uint8_t*) tx_buff, sizeof(tx_buff));

    while (!do_interrupt_done) {
        char ch = '~';
        HAL_UART_Transmit(&huart1, (uint8_t*) &ch, 1, 100);
        HAL_Delay(100);
    }
}

void HAL_UART_TxCpltCallback(UART_HandleTypeDef *huart) {
    // show we made it here
    char ch = 'T';
    HAL_UART_Transmit(&huart1, (uint8_t*) &ch, 1, 100);
}

void HAL_UART_RxCpltCallback(UART_HandleTypeDef *huart) {
    // show we made it here
    char ch = 'R';
    HAL_UART_Transmit(&huart1, (uint8_t*) &ch, 1, 100);

    // confirm we received all data
    HAL_UART_Transmit(&huart1, (uint8_t*) rx_buff, sizeof(rx_buff), 100);

    // all done
    do_interrupt_done = 1;
}

/* USER CODE END 4 */

void Error_Handler(void)
{
    __disable_irq();
    while (1) {
    }
}

/************************ (C) COPYRIGHT STMicroelectronics *****END OF FILE****/
